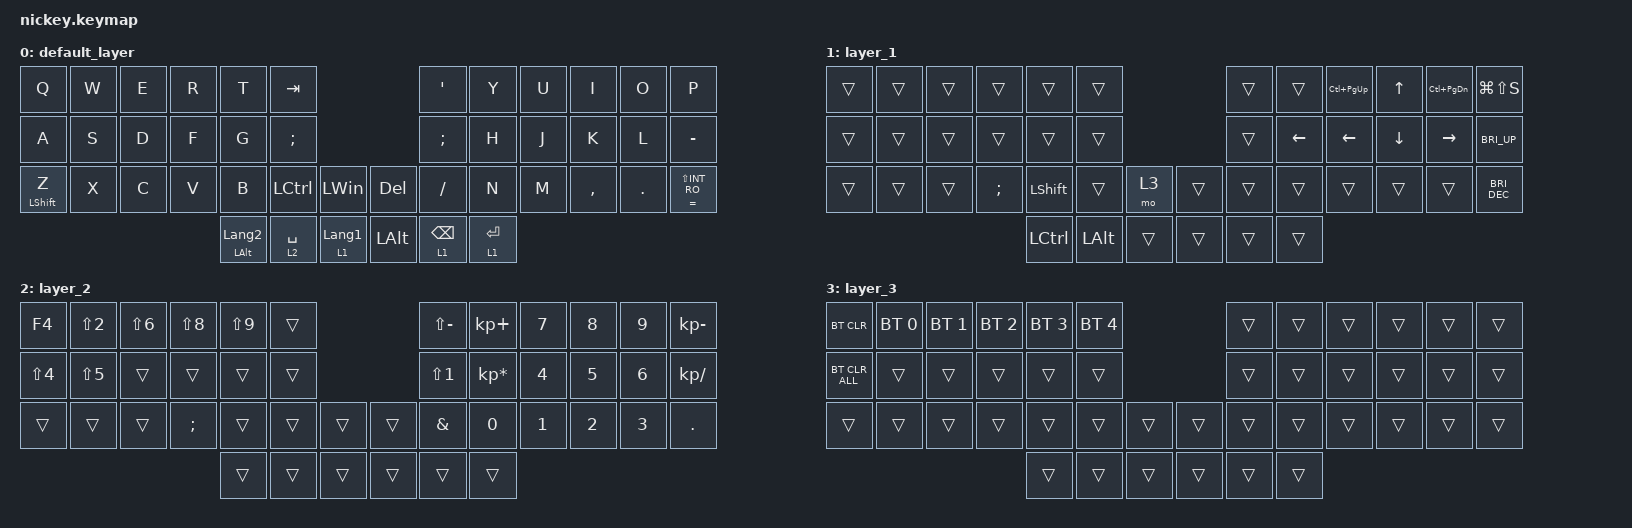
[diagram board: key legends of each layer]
#include <input/processors.dtsi>
#include <dt-bindings/zmk/input_transform.h>
#include <zephyr/dt-bindings/input/input-event-codes.h>
#include <behaviors.dtsi>
#include <dt-bindings/zmk/bt.h>
#include <dt-bindings/zmk/keys.h>
#include <dt-bindings/zmk/pointing.h>

&mt {
    flavor = "balanced";
    quick-tap-ms = <0>;
};

&lt {
    quick-tap-ms = <300>;
    flavor = "balanced";
};

/ {
    combos {
        compatible = "zmk,combos";

        esc {
            bindings = <&kp ESCAPE>;
            key-positions = <0 1>;
        };

        tab {
            bindings = <&kp TAB>;
            key-positions = <12 13>;
        };

        del {
            bindings = <&kp DELETE>;
            key-positions = <10 11>;
        };
    };

    macros {
        to_layer_0: to_layer_0 {
            compatible = "zmk,behavior-macro-one-param";
            #binding-cells = <1>;
            bindings = <&to 0 &macro_param_1to1 &kp MACRO_PLACEHOLDER>;
            label = "TO_LAYER_0";
        };
    };

    behaviors {
        lt_to_layer_0: lt_to_layer_0 {
            compatible = "zmk,behavior-hold-tap";
            label = "LAYER_TAP_TO_0";
            bindings = <&mo>, <&to_layer_0>;

            #binding-cells = <2>;
            tapping-term-ms = <200>;
        };

        scroll_up_down: mouse_wheel_up_down {
            compatible = "zmk,behavior-sensor-rotate";
            #sensor-binding-cells = <0>;
            bindings = <&msc SCRL_DOWN>, <&msc SCRL_UP>;

            tap-ms = <20>;
        };

        scroll_right_left: mouse_wheel_right_left {
            compatible = "zmk,behavior-sensor-rotate";
            #sensor-binding-cells = <0>;
            bindings = <&msc SCRL_LEFT>, <&msc SCRL_RIGHT>;

            tap-ms = <20>;
        };
    };

    keymap {
        compatible = "zmk,keymap";

        default_layer {
            bindings = <
&kp Q             &kp W  &kp E  &kp R  &kp T                    &kp TAB                                             &kp SQT          &kp Y        &kp U  &kp I      &kp O    &kp P
&kp A             &kp S  &kp D  &kp F  &kp G                    &kp SEMI                                            &kp SEMI         &kp H        &kp J  &kp K      &kp L    &kp MINUS
&mt LEFT_SHIFT Z  &kp X  &kp C  &kp V  &kp B                    &kp LEFT_CONTROL  &kp LEFT_WIN        &kp DELETE    &kp FSLH         &kp N        &kp M  &kp COMMA  &kp DOT  &mt EQUAL LS(INT_RO)
                                       &mt LEFT_ALT LANGUAGE_2  &lt 2 SPACE       &lt 1 LANGUAGE_1    &kp LEFT_ALT  &lt 1 BACKSPACE  &lt 1 ENTER
            >;
        };

        layer_1 {
            bindings = <
&trans  &trans  &trans  &trans    &trans            &trans                          &trans  &trans          &kp LC(PAGE_UP)  &kp UP_ARROW    &kp LC(PAGE_DOWN)  &kp LG(LS(S))
&trans  &trans  &trans  &trans    &trans            &trans                          &trans  &kp LEFT_ARROW  &kp LEFT_ARROW   &kp DOWN_ARROW  &kp RIGHT_ARROW    &kp C_BRI_UP
&trans  &trans  &trans  &kp SEMI  &kp LSHFT         &trans        &mo 3     &trans  &trans  &trans          &trans           &trans          &trans             &kp C_BRIGHTNESS_DEC
                                  &kp LEFT_CONTROL  &kp LEFT_ALT  &trans    &trans  &trans  &trans
            >;
        };

        layer_2 {
            bindings = <
&kp F4      &kp LS(N2)  &kp LS(N6)  &kp LS(N8)  &kp LS(N9)  &trans                    &kp LS(MINUS)     &kp KP_PLUS      &kp N7  &kp N8  &kp N9  &kp KP_MINUS
&kp LS(N4)  &kp LS(N5)  &trans      &trans      &trans      &trans                    &kp LS(NUMBER_1)  &kp KP_MULTIPLY  &kp N4  &kp N5  &kp N6  &kp KP_SLASH
&trans      &trans      &trans      &kp SEMI    &trans      &trans  &trans    &trans  &kp AMPERSAND     &kp N0           &kp N1  &kp N2  &kp N3  &kp DOT
                                                &trans      &trans  &trans    &trans  &trans            &trans
            >;
        };

        layer_3 {
            bindings = <
&bt BT_CLR      &bt BT_SEL 0  &bt BT_SEL 1  &bt BT_SEL 2  &bt BT_SEL 3  &bt BT_SEL 4                    &trans  &trans  &trans  &trans  &trans  &trans
&bt BT_CLR_ALL  &trans        &trans        &trans        &trans        &trans                          &trans  &trans  &trans  &trans  &trans  &trans
&trans          &trans        &trans        &trans        &trans        &trans        &trans    &trans  &trans  &trans  &trans  &trans  &trans  &trans
                                                          &trans        &trans        &trans    &trans  &trans  &trans
            >;
        };
    };
};
